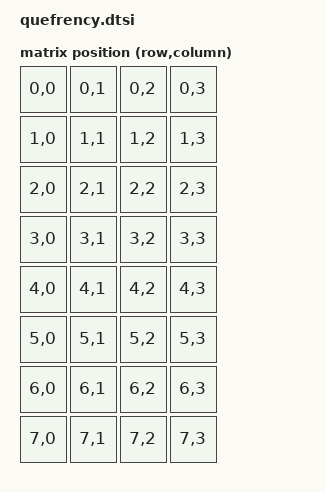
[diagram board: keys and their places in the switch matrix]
/*
 * Copyright (c) 2020 The ZMK Contributors
 *
 * SPDX-License-Identifier: MIT
 */

#include <dt-bindings/zmk/matrix_transform.h>

/ {
    chosen {
        zmk,kscan = &kscan0;

        zmk,matrix_transform = &default_transform;
    };

    /*
     * This transform corresponds to the 60% left without macro keypad and 65% right, even this
     * combination of PCBs can have keys in different locations based on configuration.
     */
        default_transform: keymap_transform_0 {
                compatible = "zmk,matrix-transform";
                columns = <4>;
                rows = <8>;
                map = <
              RC(0,0) RC(0,1) RC(0,2) RC(0,3)
              RC(1,0) RC(1,1) RC(1,2) RC(1,3)
              RC(2,0) RC(2,1) RC(2,2) RC(2,3)
              RC(3,0) RC(3,1) RC(3,2) RC(3,3)
              RC(4,0) RC(4,1) RC(4,2) RC(4,3)
              RC(5,0) RC(5,1) RC(5,2) RC(5,3)
              RC(6,0) RC(6,1) RC(6,2) RC(6,3)
              RC(7,0) RC(7,1) RC(7,2) RC(7,3)
>;


    };
};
